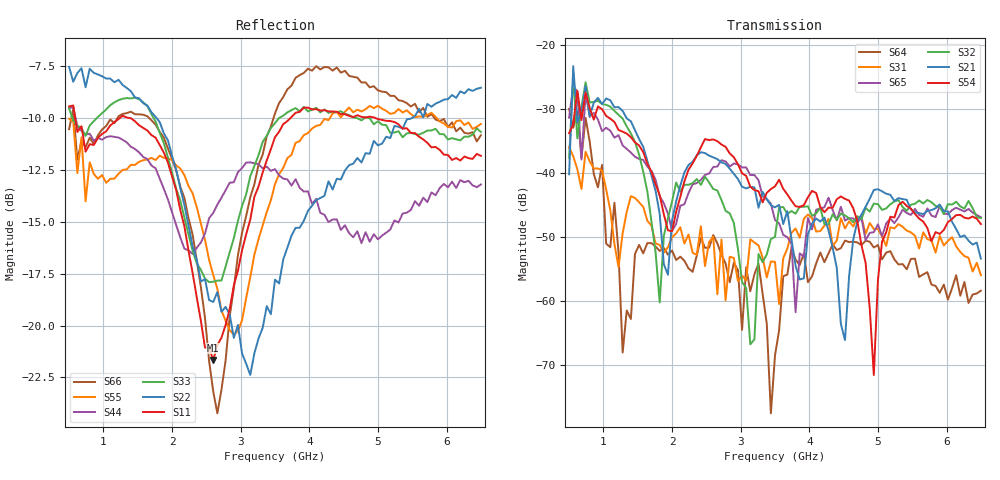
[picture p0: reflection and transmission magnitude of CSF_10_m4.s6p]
!Keysight Technologies,M9804A,MY58100912,A.14.10.03
!Date: Thursday, April 27, 2023 10:28:33
!Correction: S11(C  6-Port  )
!S12(C  6-Port  )
!S13(C  6-Port  )
!S14(C  6-Port  )
!S15(C  6-Port  )
!S16(C  6-Port  )
!S21(C  6-Port  )
!S22(C  6-Port  )
!S23(C  6-Port  )
!S24(C  6-Port  )
!S25(C  6-Port  )
!S26(C  6-Port  )
!S31(C  6-Port  )
!S32(C  6-Port  )
!S33(C  6-Port  )
!S34(C  6-Port  )
!S35(C  6-Port  )
!S36(C  6-Port  )
!S41(C  6-Port  )
!S42(C  6-Port  )
!S43(C  6-Port  )
!S44(C  6-Port  )
!S45(C  6-Port  )
!S46(C  6-Port  )
!S51(C  6-Port  )
!S52(C  6-Port  )
!S53(C  6-Port  )
!S54(C  6-Port  )
!S55(C  6-Port  )
!S56(C  6-Port  )
!S61(C  6-Port  )
!S62(C  6-Port  )
!S63(C  6-Port  )
!S64(C  6-Port  )
!S65(C  6-Port  )
!S66(C  6-Port  )
!S6P File: Measurement: :
# Hz S  RI  R 50
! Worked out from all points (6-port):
!   101 points, 500 MHz to 6.5 GHz, reference 50 ohm
!   strongest paths, dB at 500 MHz, 2 GHz, 3.5 GHz, 5 GHz, 6.5 GHz:
!     S54: -33.8, -49.1, -42.1, -56.7, -48.0
!     S21: -40.2, -47.4, -45.4, -42.6, -53.4
!     S32: -37.6, -44.5, -50.0, -44.9, -47.1
!     S65: -31.4, -49.1, -47.4, -48.1, -46.9
!     S31: -36.0, -50.0, -53.9, -48.8, -56.0
!     S64: -30.0, -52.1, -68.5, -51.3, -58.4
!   lowest |S11| = -21.7 dB at 2.6 GHz (marker M1), VSWR 1.18, Z = 42.6 + j2.06 ohm
!   |S11| at or under -10 dB: 589 MHz to 1.234 GHz (644.9 MHz wide, 70.8 % of centre); 1.401 GHz to 3.722 GHz (2.321 GHz wide, 90.6 % of centre); 4.972 GHz to end of sweep
